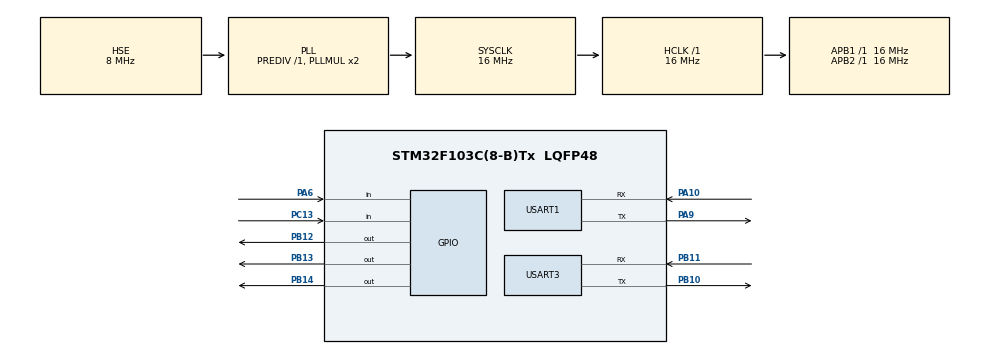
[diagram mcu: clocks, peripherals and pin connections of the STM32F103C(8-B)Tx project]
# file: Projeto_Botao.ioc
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Mcu.Family=STM32F1
Mcu.Name=STM32F103C(8-B)Tx
Mcu.Package=LQFP48
NVIC.PriorityGroup=NVIC_PRIORITYGROUP_4
NVIC.USART1_IRQn=true\:0\:0\:false\:false\:true\:true\:true\:true
PA10.Mode=Asynchronous
PA10.Signal=USART1_RX
PA13.Mode=Trace_Asynchronous_SW
PA13.Signal=SYS_JTMS-SWDIO
PA14.Mode=Trace_Asynchronous_SW
PA14.Signal=SYS_JTCK-SWCLK
PA2.Signal=USART2_TX
PA3.Signal=USART2_RX
PA6.Signal=GPIO_Input
PA9.Mode=Asynchronous
PA9.Signal=USART1_TX
PB10.Mode=Asynchronous
PB10.Signal=USART3_TX
PB11.Mode=Asynchronous
PB11.Signal=USART3_RX
PB12.Signal=GPIO_Output
PB13.Signal=GPIO_Output
PB14.Signal=GPIO_Output
PB3.Mode=Trace_Asynchronous_SW
PB3.Signal=SYS_JTDO-TRACESWO
PC13-TAMPER-RTC.Signal=GPIO_Input
PD0-OSC_IN.Mode=HSE-External-Oscillator
PD0-OSC_IN.Signal=RCC_OSC_IN
PD1-OSC_OUT.Mode=HSE-External-Oscillator
PD1-OSC_OUT.Signal=RCC_OSC_OUT
ProjectManager.HeapSize=0x200
ProjectManager.StackSize=0x400
ProjectManager.TargetToolchain=STM32CubeIDE
RCC.AHBFreq_Value=16000000
RCC.APB1Freq_Value=16000000
RCC.APB1TimFreq_Value=16000000
RCC.APB2Freq_Value=16000000
RCC.APB2TimFreq_Value=16000000
RCC.HCLKFreq_Value=16000000
RCC.PLLSourceVirtual=RCC_PLLSOURCE_HSE
RCC.SYSCLKFreq_VALUE=16000000
RCC.SYSCLKSource=RCC_SYSCLKSOURCE_PLLCLK
RCC.USBFreq_Value=16000000
USART1.VirtualMode=VM_ASYNC
USART3.VirtualMode=VM_ASYNC
board=custom

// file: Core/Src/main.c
/* USER CODE BEGIN Header */
/**
  ******************************************************************************
  * @file           : main.c
  * @brief          : Main program body
  ******************************************************************************
  * @attention
  *
  * Copyright (c) 2025 STMicroelectronics.
  * All rights reserved.
  *
  * This software is licensed under terms that can be found in the LICENSE file
  * in the root directory of this software component.
  * If no LICENSE file comes with this software, it is provided AS-IS.
  *
  ******************************************************************************
  */
/* USER CODE END Header */
#include "main.h"

/* USER CODE BEGIN PD */

#define UART_RX_BUFFER_SIZE 64

#define BUTTON_Pin GPIO_PIN_13
#define LED_RED_PIN GPIO_PIN_0
#define LED_GREEN_PIN GPIO_PIN_1
#define LED_BLUE_PIN GPIO_PIN_2
#define LED_PORT GPIOA

/* USER CODE END PD */

UART_HandleTypeDef huart1;
UART_HandleTypeDef huart3;

/* USER CODE BEGIN PV */
volatile uint32_t g_last_press_time = 0; // Debounce

uint8_t g_uart_rx_buffer[UART_RX_BUFFER_SIZE];
uint8_t g_uart_rx_byte;
int g_uart_rx_index = 0;

/* USER CODE END PV */

void SystemClock_Config(void);
static void MX_GPIO_Init(void);
static void MX_USART1_UART_Init(void);
static void MX_USART3_UART_Init(void);
/* USER CODE BEGIN PFP */
void Set_LED_Color(int led_index, int red, int green, int blue);
void Turn_All_LEDs_Off(void);
void Process_BLE_Command(char* command);
void Send_Button_Press_To_Notebook(void);

/* USER CODE BEGIN PFP */

/* USER CODE END PFP */

int main(void)
{

  /* MCU Configuration--------------------------------------------------------*/

  /* Reset of all peripherals, Initializes the Flash interface and the Systick. */
  HAL_Init();

  /* Configure the system clock */
  SystemClock_Config();

  /* Initialize all configured peripherals */
  MX_GPIO_Init();
  MX_USART1_UART_Init();
  MX_USART3_UART_Init();
  /* USER CODE BEGIN 2 */

  Turn_All_LEDs_Off();

  HAL_UART_Receive_IT(&huart1, &g_uart_rx_byte, 1);
  /* USER CODE END 2 */

  /* Infinite loop */
  /* USER CODE BEGIN WHILE */
  while (1)
  {
	  __WFI();
    /* USER CODE END WHILE */

  }
}

void SystemClock_Config(void)
{
  RCC_OscInitTypeDef RCC_OscInitStruct = {0};
  RCC_ClkInitTypeDef RCC_ClkInitStruct = {0};

  /** Initializes the RCC Oscillators according to the specified parameters
  * in the RCC_OscInitTypeDef structure.
  */
  RCC_OscInitStruct.OscillatorType = RCC_OSCILLATORTYPE_HSE;
  RCC_OscInitStruct.HSEState = RCC_HSE_ON;
  RCC_OscInitStruct.HSEPredivValue = RCC_HSE_PREDIV_DIV1;
  RCC_OscInitStruct.HSIState = RCC_HSI_ON;
  RCC_OscInitStruct.PLL.PLLState = RCC_PLL_ON;
  RCC_OscInitStruct.PLL.PLLSource = RCC_PLLSOURCE_HSE;
  RCC_OscInitStruct.PLL.PLLMUL = RCC_PLL_MUL2;
  if (HAL_RCC_OscConfig(&RCC_OscInitStruct) != HAL_OK)
  {
    Error_Handler();
  }

  /** Initializes the CPU, AHB and APB buses clocks
  */
  RCC_ClkInitStruct.ClockType = RCC_CLOCKTYPE_HCLK|RCC_CLOCKTYPE_SYSCLK
                              |RCC_CLOCKTYPE_PCLK1|RCC_CLOCKTYPE_PCLK2;
  RCC_ClkInitStruct.SYSCLKSource = RCC_SYSCLKSOURCE_PLLCLK;
  RCC_ClkInitStruct.AHBCLKDivider = RCC_SYSCLK_DIV1;
  RCC_ClkInitStruct.APB1CLKDivider = RCC_HCLK_DIV1;
  RCC_ClkInitStruct.APB2CLKDivider = RCC_HCLK_DIV1;

  if (HAL_RCC_ClockConfig(&RCC_ClkInitStruct, FLASH_LATENCY_0) != HAL_OK)
  {
    Error_Handler();
  }
}

static void MX_USART1_UART_Init(void)
{

  huart1.Instance = USART1;
  huart1.Init.BaudRate = 115200;
  huart1.Init.WordLength = UART_WORDLENGTH_8B;
  huart1.Init.StopBits = UART_STOPBITS_1;
  huart1.Init.Parity = UART_PARITY_NONE;
  huart1.Init.Mode = UART_MODE_TX_RX;
  huart1.Init.HwFlowCtl = UART_HWCONTROL_NONE;
  huart1.Init.OverSampling = UART_OVERSAMPLING_16;
  if (HAL_UART_Init(&huart1) != HAL_OK)
  {
    Error_Handler();
  }

}

static void MX_USART3_UART_Init(void)
{

  huart3.Instance = USART3;
  huart3.Init.BaudRate = 115200;
  huart3.Init.WordLength = UART_WORDLENGTH_8B;
  huart3.Init.StopBits = UART_STOPBITS_1;
  huart3.Init.Parity = UART_PARITY_NONE;
  huart3.Init.Mode = UART_MODE_TX_RX;
  huart3.Init.HwFlowCtl = UART_HWCONTROL_NONE;
  huart3.Init.OverSampling = UART_OVERSAMPLING_16;
  if (HAL_UART_Init(&huart3) != HAL_OK)
  {
    Error_Handler();
  }

}

static void MX_GPIO_Init(void)
{
  GPIO_InitTypeDef GPIO_InitStruct = {0};

  /* GPIO Ports Clock Enable */
  __HAL_RCC_GPIOC_CLK_ENABLE();
  __HAL_RCC_GPIOD_CLK_ENABLE();
  __HAL_RCC_GPIOA_CLK_ENABLE();
  __HAL_RCC_GPIOB_CLK_ENABLE();

  /*Configure GPIO pin Output Level */
  HAL_GPIO_WritePin(GPIOB, GPIO_PIN_12|GPIO_PIN_13|GPIO_PIN_14, GPIO_PIN_RESET);

  /*Configure GPIO pin : PC13 */
  GPIO_InitStruct.Pin = GPIO_PIN_13;
  GPIO_InitStruct.Mode = GPIO_MODE_INPUT;
  GPIO_InitStruct.Pull = GPIO_NOPULL;
  HAL_GPIO_Init(GPIOC, &GPIO_InitStruct);

  /*Configure GPIO pin : PA2 */
  GPIO_InitStruct.Pin = GPIO_PIN_2;
  GPIO_InitStruct.Mode = GPIO_MODE_AF_PP;
  GPIO_InitStruct.Speed = GPIO_SPEED_FREQ_HIGH;
  HAL_GPIO_Init(GPIOA, &GPIO_InitStruct);

  /*Configure GPIO pin : PA3 */
  GPIO_InitStruct.Pin = GPIO_PIN_3;
  GPIO_InitStruct.Mode = GPIO_MODE_INPUT;
  GPIO_InitStruct.Pull = GPIO_NOPULL;
  HAL_GPIO_Init(GPIOA, &GPIO_InitStruct);

  /*Configure GPIO pin : PA6 */
  GPIO_InitStruct.Pin = GPIO_PIN_6;
  GPIO_InitStruct.Mode = GPIO_MODE_INPUT;
  GPIO_InitStruct.Pull = GPIO_NOPULL;
  HAL_GPIO_Init(GPIOA, &GPIO_InitStruct);

  /*Configure GPIO pins : PB12 PB13 PB14 */
  GPIO_InitStruct.Pin = GPIO_PIN_12|GPIO_PIN_13|GPIO_PIN_14;
  GPIO_InitStruct.Mode = GPIO_MODE_OUTPUT_PP;
  GPIO_InitStruct.Pull = GPIO_NOPULL;
  GPIO_InitStruct.Speed = GPIO_SPEED_FREQ_LOW;
  HAL_GPIO_Init(GPIOB, &GPIO_InitStruct);

}

/* USER CODE BEGIN 4 */

void Set_LED_Color(int led_index, int red, int green, int blue) {
    // Nota: led_index é ignorado pois só temos 1 LED RGB neste micro

    // Assumindo Lógica Positiva (1 = Aceso). Se for anodo comum, inverta para RESET/SET.
    HAL_GPIO_WritePin(LED_PORT, LED_RED_PIN, red > 0 ? GPIO_PIN_SET : GPIO_PIN_RESET);
    HAL_GPIO_WritePin(LED_PORT, LED_GREEN_PIN, green > 0 ? GPIO_PIN_SET : GPIO_PIN_RESET);
    HAL_GPIO_WritePin(LED_PORT, LED_BLUE_PIN, blue > 0 ? GPIO_PIN_SET : GPIO_PIN_RESET);
}

void Turn_All_LEDs_Off() {
    Set_LED_Color(0, 0, 0, 0);
}

void Process_BLE_Command(char* command)
{
    // Apenas cores puras (1 LED por vez) para economizar bateria

    if (strstr(command, "LED_GREEN") != NULL)
    {
        Set_LED_Color(0, 0, 255, 0); // Só Verde ligado
    }
    else if (strstr(command, "LED_RED") != NULL)
    {
        Set_LED_Color(0, 255, 0, 0); // Só Vermelho ligado
    }
    else if (strstr(command, "LED_BLUE") != NULL)
    {
        Set_LED_Color(0, 0, 0, 255); // Só Azul ligado
    }
    else if (strstr(command, "LED_OFF") != NULL)
    {
        Turn_All_LEDs_Off();
    }

    // Limpa o buffer
    memset(g_uart_rx_buffer, 0, UART_RX_BUFFER_SIZE);
    g_uart_rx_index = 0;
}
void Send_Button_Press_To_Notebook()
{
    // Envia comando AT para o módulo BLE transmitir a notificação
    uint8_t cmd[] = "AT+SEND=PRESSED\r\n";
    HAL_UART_Transmit(&huart1, cmd, sizeof(cmd) - 1, 100);
}

void HAL_GPIO_EXTI_Callback(uint16_t GPIO_Pin)
{
    // (Assumindo que seu pino de botão é BUTTON_Pin)
    if (GPIO_Pin == BUTTON_Pin)
    {
        // --- 1. Debounce ---
        uint32_t current_time = HAL_GetTick();
        if (current_time - g_last_press_time < 200) // 200ms de debounce
        {
            return;
        }
        g_last_press_time = current_time;

        // --- 2. Lógica do STM32 ---
        // A lógica não é mais "ver se acertei".
        // A lógica é: "Avisar o notebook que fui pressionado".
        Send_Button_Press_To_Notebook();
    }
}

void HAL_UART_RxCpltCallback(UART_HandleTypeDef *huart)
{
    if (huart->Instance == USART1) // A UART conectada ao BLE
    {
        // Adiciona o byte recebido ao buffer
        if (g_uart_rx_index < UART_RX_BUFFER_SIZE - 1)
        {
            g_uart_rx_buffer[g_uart_rx_index++] = g_uart_rx_byte;
        }

        // Se recebermos um "Enter" (fim do comando), processa
        if (g_uart_rx_byte == '\n')
        {
            g_uart_rx_buffer[g_uart_rx_index] = '\0'; // Termina a string
            Process_BLE_Command((char*)g_uart_rx_buffer);
        }

        // Reinicia a escuta para o próximo byte
        HAL_UART_Receive_IT(&huart1, &g_uart_rx_byte, 1);
    }
}

/* USER CODE END 4 */

void Error_Handler(void)
{
  __disable_irq();
  while (1)
  {
  }
}
